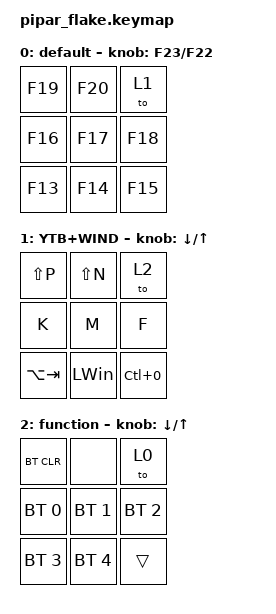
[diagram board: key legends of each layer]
/*
 * Copyright (c) 2022 The ZMK Contributors
 *
 * SPDX-License-Identifier: MIT
 */

#include <behaviors.dtsi>
#include <dt-bindings/zmk/bt.h>
#include <dt-bindings/zmk/keys.h>

#define BASE        0
#define FUNC        1

/ {
    sensors: sensors {
        compatible = "zmk,keymap-sensors";
        sensors = <&encoder_1>;
        triggers-per-rotation = <24>;
    };

    keymap {
        compatible = "zmk,keymap";

        TOOL {
            // ---------------------------//
            // | Q    | W     | ENCODER | //
            // | A    | S     | D       | //
            // | Z    | X     | FN      | //

            display-name = "default";
            bindings = <
&kp F19  &kp F20  &to 1
&kp F16  &kp F17  &kp F18
&kp F13  &kp F14  &kp F15
            >;

            sensor-bindings = <&inc_dec_kp F23 F22>;
        };

        YTB+WIND {
            bindings = <
&kp LS(P)    &kp LS(N)     &to 2
&kp K        &kp M         &kp F
&kp LA(TAB)  &kp LEFT_WIN  &kp LC(N0)
            >;

            sensor-bindings = <&inc_dec_kp DOWN_ARROW UP_ARROW>;
        };

        KET_NOI_BT {
            // --------------------------- //
            // | BT_CLR | none | ENCODER | //
            // | BT_0   | BT_1 | BT_2    | //
            // | BT_3   | BT_4 | trans   | //

            display-name = "function";
            bindings = <
&bt BT_CLR    &none         &to 0
&bt BT_SEL 0  &bt BT_SEL 1  &bt BT_SEL 2
&bt BT_SEL 3  &bt BT_SEL 4  &trans
            >;

            sensor-bindings = <&inc_dec_kp DOWN_ARROW UP_ARROW>;
        };
    };
};
